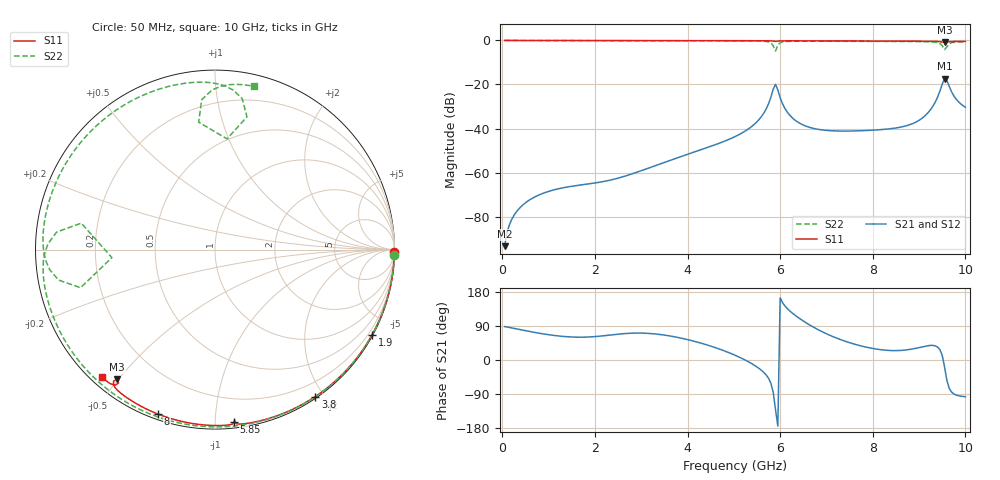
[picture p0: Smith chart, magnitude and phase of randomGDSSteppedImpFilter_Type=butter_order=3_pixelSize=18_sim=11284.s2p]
! freq	dB(S11)	phase(S11)	dB(S12)	phase(S12)
!  dB(S21)	phase(S21)	dB(S22)	phase(S22)
!S-par simulation data
#  GHz  S  DB  R 50
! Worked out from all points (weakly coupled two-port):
!   200 points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, 50 MHz to 10 GHz, reference 50 ohm
!   highest |S21| = -17.31 dB at 9.55 GHz (marker M1); lowest = -93.5 dB at 50 MHz (marker M2)
!   lowest |S11| = -0.9 dB at 9.55 GHz (marker M3), VSWR 20.07, Z = 3.11 - j24.8 ohm
!   |S11| at or under -10 dB: nowhere
!   |S22| runs from -4.8 to 0.0 dB; largest |S21 - S12| = 0
!   S11 on the Smith chart (normalised r, x): 50 MHz: open; 1.9 GHz: 0.03, -3.94; 3.8 GHz: 0.02, -1.89; 5.85 GHz: 0.04, -1.12; 8 GHz: 0.02, -0.71; 10 GHz: 0.03, -0.45
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0.05  -0.00 -0.8  -93.45 88.2  -93.45 88.2  -0.00 -1.9
0.25  -0.00 -3.8  -79.55 83.5  -79.55 83.5  -0.01 -9.2
0.85  -0.02 -12.9  -69.68 69.6  -69.68 69.6  -0.04 -30.9
1.75  -0.03 -26.3  -65.49 60.2  -65.49 60.2  -0.08 -62.1
1.9  -0.04 -28.5  -65.06 60.9  -65.06 60.9  -0.08 -67.0
3.4  -0.07 -50.1  -56.15 67.4  -56.15 67.4  -0.13 -112.8
3.8  -0.08 -55.7  -53.19 59.3  -53.19 59.3  -0.15 -124.0
5.05  -0.11 -72.6  -43.43 11.3  -43.43 11.3  -0.22 -157.6
5.6  -0.14 -79.9  -34.45 -27.6  -34.45 -27.6  -0.33 -174.3
5.85  -0.28 -83.7  -22.10 -85.4  -22.10 -85.4  -2.39 168.8
5.9  -0.40 -83.5  -19.91 -131.4  -19.91 -131.4  -4.79 -175.5
5.95  -0.29 -83.3  -22.52 -174.4  -22.52 -174.4  -2.17 -164.2
6.2  -0.17 -86.9  -33.79 130.3  -33.79 130.3  -0.39 179.5
6.7  -0.18 -93.3  -39.84 88.0  -39.84 88.0  -0.33 164.3
8  -0.26 -109.0  -40.76 30.4  -40.76 30.4  -0.41 129.3
8.35  -0.29 -113.1  -40.17 25.2  -40.17 25.2  -0.44 119.5
9.1  -0.37 -122.1  -34.73 35.6  -34.73 35.6  -0.55 96.7
9.4  -0.47 -126.2  -25.74 34.2  -25.74 34.2  -0.98 83.4
9.55  -0.87 -127.0  -17.31 -18.2  -17.31 -18.2  -4.15 83.8
9.6  -0.74 -125.8  -18.18 -53.8  -18.18 -53.8  -2.90 97.3
9.7  -0.50 -127.2  -23.25 -84.4  -23.25 -84.4  -1.01 91.0
10  -0.45 -131.4  -30.33 -96.9  -30.33 -96.9  -0.59 76.7
